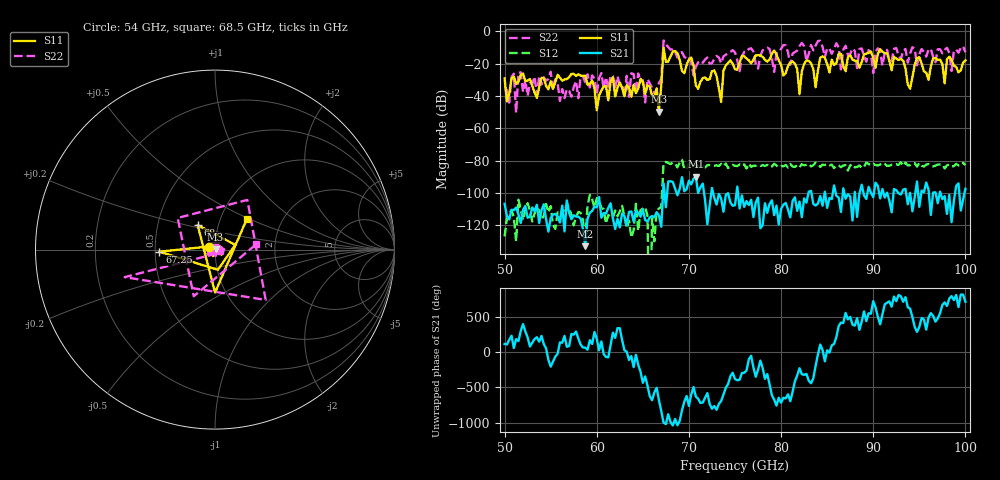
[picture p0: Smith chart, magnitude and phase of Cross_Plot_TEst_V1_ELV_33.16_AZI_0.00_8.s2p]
! 11/25/2026 1:20:12 PM
! C:\ANRITSUVNA\TEMP\TEMP.S2P
! CHANNEL.1
! TR.MEASUREMENT
! RAW.DATA
# HZ S RI R 50.0
! FREQ.HZ  S11RE  S11IM  S21RE  S21IM  S12RE  S12IM  S22RE  S22IM
!; PortSelection: Port_12
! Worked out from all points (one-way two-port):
!   201 points, 50 GHz to 100 GHz, reference 50 ohm
!   highest |S21| = -90.01 dB at 70.75 GHz (marker M1); lowest = -133.0 dB at 58.75 GHz (marker M2)
!   lowest |S11| = -49.7 dB at 66.75 GHz (marker M3), VSWR 1.01, Z = 50.3 + j0.0704 ohm
!   |S11| at or under -10 dB: start of sweep to end of sweep
!   |S22| runs from -50.5 to -5.6 dB; largest |S21 - S12| = 0.00013
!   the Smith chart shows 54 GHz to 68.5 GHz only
!   S11 on the Smith chart (normalised r, x): 54 GHz: 0.93, +0.03; 67.25 GHz: 0.53, -0.01; 68 GHz: 0.80, +0.22; 68.5 GHz: 1.33, +0.49
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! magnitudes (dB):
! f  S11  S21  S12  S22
! 50 GHz  -29.1  -106.7  -127.0  -35.8
! 51.25 GHz  -32.6  -109.1  -130.0  -50.5
! 51.5 GHz  -31.2  -113.3  -104.2  -25.7
! 54 GHz  -28.7  -110.9  -116.3  -32.9
! 58.5 GHz  -27.6  -122.4  -116.8  -27.7
! 58.75 GHz  -27.3  -133.0  -130.0  -31.5
! 60 GHz  -48.8  -108.9  -103.3  -38.6
! 61.75 GHz  -28.4  -115.9  -115.3  -27.7
! 66.75 GHz  -49.7  -114.0  -109.6  -31.9
! 67.25 GHz  -10.2  -94.0  -81.3  -5.6
! 68 GHz  -15.5  -92.8  -82.1  -11.3
! 68.5 GHz  -12.1  -97.5  -81.6  -12.7
! 70.75 GHz  -33.4  -90.0  -82.0  -21.8
! 72.75 GHz  -24.1  -103.0  -83.1  -17.0
! 73.5 GHz  -43.6  -103.6  -82.0  -19.7
! 73.75 GHz  -24.3  -111.7  -83.4  -15.4
! 75 GHz  -23.5  -107.6  -83.2  -13.0
! 83.5 GHz  -23.4  -106.8  -82.9  -11.8
! 91.75 GHz  -18.2  -104.7  -83.2  -17.6
! 94 GHz  -35.5  -100.0  -82.8  -13.7
! 94.75 GHz  -16.4  -92.9  -83.7  -20.9
! 100 GHz  -17.9  -97.5  -82.8  -12.9
